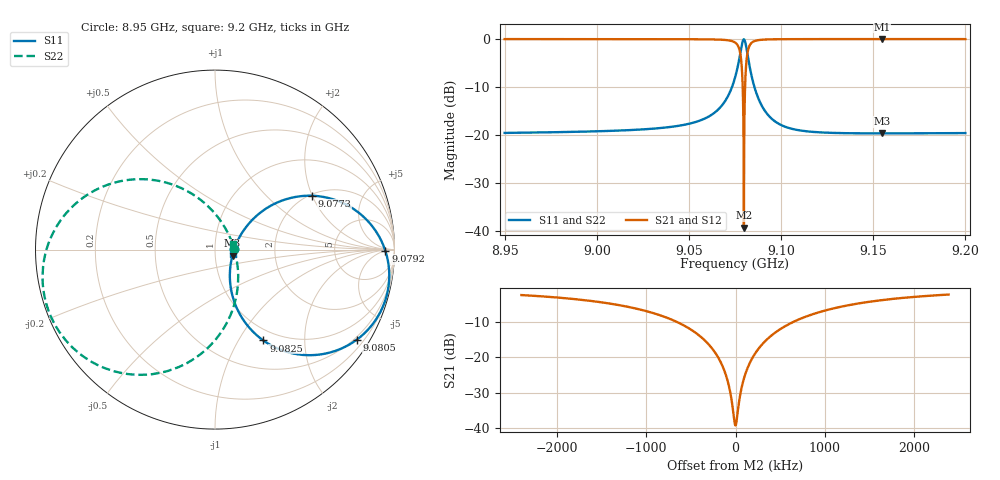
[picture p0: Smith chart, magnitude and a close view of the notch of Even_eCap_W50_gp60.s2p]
! Sonnet Data File
! From: emgraph Version : 16.52
! From Project: Resonator2_extremeCap
! Data is De-embedded
! Data File Written: 10/11/2017 17:55:30
!< HDATE 10/10/2017 20:37:37
!< MDATE 10/10/2017 20:37:37
!< PARAMS
!< Pwid1 = 2000.0
!< Pwid2 = 2000.0
!< Air_gap = 30.0
!< Width = 50.0
!< Gap = 60.0
!< END PARAMS
# GHZ S MA R 50.70000
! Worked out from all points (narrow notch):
!   1845 points, 8.95 GHz to 9.2 GHz, reference 50.7 ohm
!   highest |S21| = -0.05 dB at 9.1548 GHz (marker M1); lowest = -39.3 dB at 9.0798 GHz (marker M2)
!   notch at M2: 39.2 dB deep, 401 kHz wide at half that depth
!   lowest |S11| = -19.7 dB at 9.155 GHz (marker M3), VSWR 1.23, Z = 61.6 - j4.22 ohm
!   |S11| at or under -10 dB: start of sweep to 9.0734 GHz; 9.0855 GHz to end of sweep
!   |S22| runs from -19.7 to -0.1 dB; largest |S21 - S12| = 0
!   S11 on the Smith chart (normalised r, x): 8.95 GHz: 1.23, +0.01; 9.0773 GHz: 2.05, +1.98; 9.0792 GHz: 38, -6; 9.0805 GHz: 0.42, -3.40; 9.0825 GHz: 0.85, -1.28; 9.2 GHz: 1.22, -0.07
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8.95  0.1049 2.6  0.9945 -88.2  0.9945 -88.2  0.1049 1.0
!< P1 F=8.95 Eeff=(6.44048267 -2.9687e-5) Z0=(50.4065418 1.16289e-4) R=0.0 C=0.0
!< P2 F=8.95 Eeff=(6.44048267 -2.9687e-5) Z0=(50.4065418 1.16289e-4) R=0.0 C=0.0
8.9918  0.1081 5.2  0.9941 -89.0  0.9941 -89.0  0.1081 -3.3
9.0334  0.1174 12.4  0.9931 -90.5  0.9931 -90.5  0.1173 -13.5
9.0624  0.1624 29.1  0.9866 -94.7  0.9866 -94.7  0.1623 -38.6
9.075  0.3935 38.2  0.9179 -110.0  0.9179 -110.0  0.3928 -78.6
9.077308  0.6165 29.1  0.7829 -125.2  0.7829 -125.2  0.6152 -100.4
9.079249  0.9497 -0.5  0.2839 -158.9  0.2839 -158.9  0.9475 -141.5
9.079655  0.9865 -10.8  0.08768 -165.5  0.08768 -165.5  0.9843 -154.3
9.079743  0.9894 -13.1  0.0436 -160.8  0.0436 -160.8  0.9871 -157.2
9.079826  0.9902 -15.3  0.01083 -85.5  0.01083 -85.5  0.988 -159.9
9.079909  0.9893 -17.6  0.04464 -14.1  0.04464 -14.1  0.9871 -162.6
9.08001  0.9857 -20.2  0.09603 -9.6  0.09603 -9.6  0.9835 -165.9
9.080486  0.9364 -32.3  0.325 -18.5  0.325 -18.5  0.9343 179.0
9.081402  0.7637 -50.2  0.6364 -38.1  0.6364 -38.1  0.7619 155.4
9.082505  0.5734 -62.0  0.8152 -53.1  0.8152 -53.1  0.5721 136.7
9.086  0.2948 -69.6  0.9547 -71.5  0.9547 -71.5  0.2941 106.9
9.0934  0.1575 -58.3  0.9873 -80.8  0.9873 -80.8  0.1573 76.8
9.1168  0.1077 -31.3  0.9942 -86.1  0.9942 -86.1  0.1077 39.1
9.1548  0.1037 -19.1  0.9946 -88.0  0.9946 -88.0  0.1037 23.1
9.155  0.1037 -19.1  0.9946 -88.0  0.9946 -88.0  0.1037 23.1
9.1584  0.1037 -18.6  0.9946 -88.1  0.9946 -88.1  0.1037 22.4
9.2  0.1045 -14.8  0.9945 -89.0  0.9945 -89.0  0.1045 16.8
